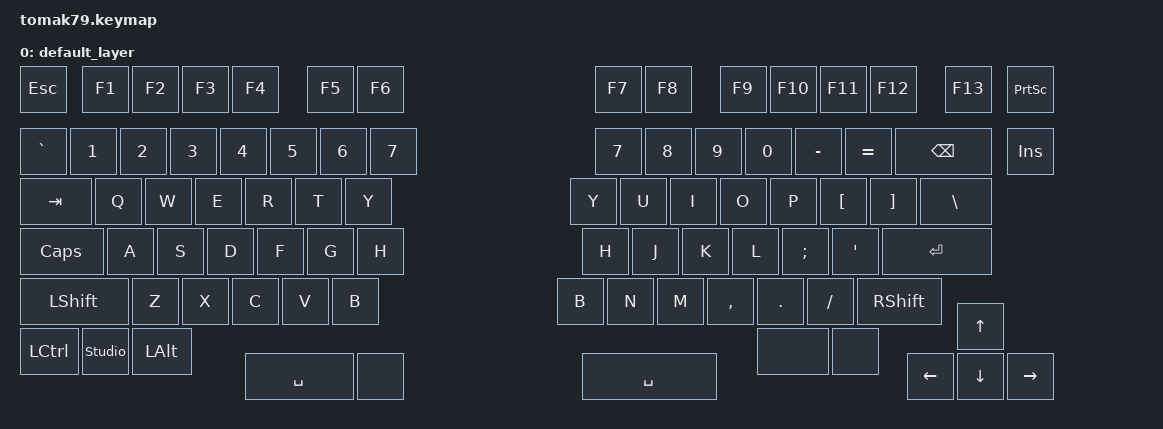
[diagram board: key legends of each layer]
#include <behaviors.dtsi>
#include <dt-bindings/zmk/keys.h>
#include <dt-bindings/zmk/bt.h>

/ {
    keymap {
        compatible = "zmk,keymap";

        default_layer {
           bindings = <
    // KLE row 0
    &kp ESC          &kp F1           &kp F2           &kp F3           &kp F4           &kp F5           &kp F6           &kp F7           &kp F8           &kp F9           &kp F10          &kp F11          &kp F12          &kp F13          &kp PSCRN       
    // KLE row 1
    &kp GRAVE        &kp N1           &kp N2           &kp N3           &kp N4           &kp N5           &kp N6           &kp N7           &kp N7           &kp N8           &kp N9           &kp N0           &kp MINUS        &kp EQUAL        &kp BSPC         &kp INS         
    // KLE row 2
    &kp TAB          &kp Q            &kp W            &kp E            &kp R            &kp T            &kp Y            &kp Y            &kp U            &kp I            &kp O            &kp P            &kp LBKT         &kp RBKT         &kp BSLH        
    // KLE row 3
    &kp CAPS         &kp A            &kp S            &kp D            &kp F            &kp G            &kp H            &kp H            &kp J            &kp K            &kp L            &kp SEMI         &kp SQT          &kp RET         
    // KLE row 4
    &kp LSHFT        &kp Z            &kp X            &kp C            &kp V            &kp B            &kp B            &kp N            &kp M            &kp COMMA        &kp DOT          &kp FSLH         &kp RSHFT       
    // KLE row 5
    &kp UP          
    // KLE row 6
    &kp LCTRL        &studio_unlock   &kp LALT         &none            &none           
    // KLE row 7
    &kp SPC          &none            &kp SPC          &kp LEFT         &kp DOWN         &kp RIGHT       
>;
        };
    };
};
